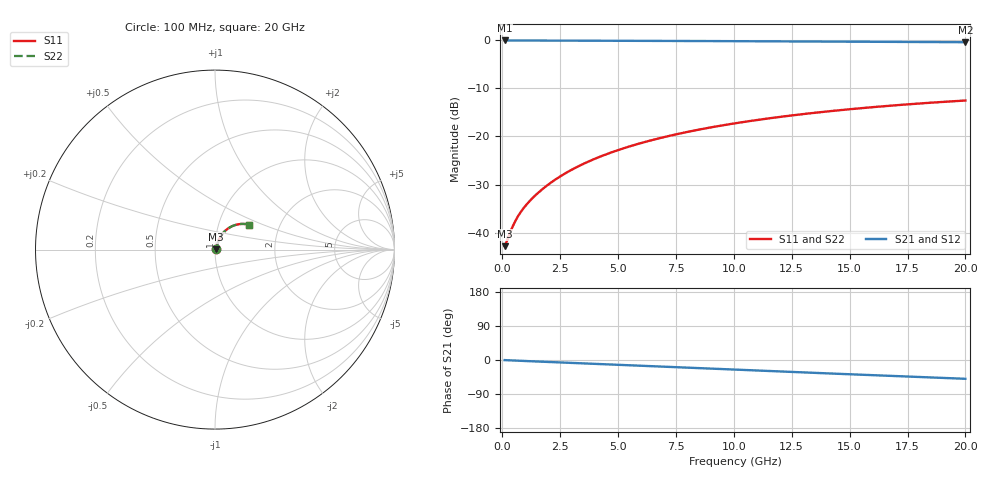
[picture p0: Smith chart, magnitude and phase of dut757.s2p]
! Touchstone file exported from HFSS 2026.1.0
!  File:  C:/ffzhzh/LocalFiles/Ansys_Project_Files/temp_train_TMRDL_757_1783155375_55132.aedt
!  Generated:  04:57:32 PM Jul  4, 2026
!  Design:  TMRDL
!  Project:  temp_train_TMRDL_757_1783155375_55132
! Variables:
!  h_bsmrdl = 2um
!  h_ox = 20um
!  h_rdl = 5um
!  h_sub = 80um
!  h_tmrdl = 2.11um
!  h_tsv = 80um
!  h_via = 3um
!  l_bsmrdl = 300um
!  l_sub = 1244.67um
!  l_tmrdl = 844.67um
!  m_sub = 200um
!  pitch = 29.34um
!  r_tsv = 6um
!  s_tmrdl = 10um
!  w_bsmrdl = 18um
!  w_sub = 500um
!  w_tmrdl = 21.23um
!  x_tsv_center1 = 855.285um
!  x_tsv_center2 = 1173.285um
!  x_tsv_center3 = 2039.185um
!  x_tsv_center4 = 2357.185um
!  x_tsv_center5 = 3223.085um
!  x_tsv_center6 = 3541.085um
# GHz S MA R 50.000000
! Terminal data exported
! Port[1] = TM_RDL1_1_T1
! Port[2] = TM_RDL1_1_T2
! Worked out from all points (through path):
!   200 points, 100 MHz to 20 GHz, reference 50 ohm
!   highest |S21| = -0.06 dB at 100 MHz (marker M1); lowest = -0.4 dB at 20 GHz (marker M2)
!   group delay of S21, straight-line fit = 6.88 ps
!   lowest |S11| = -42.8 dB at 100 MHz (marker M3), VSWR 1.01, Z = 50.7 + j0.201 ohm
!   |S11| at or under -10 dB: start of sweep to end of sweep
!   |S22| runs from -42.8 to -12.5 dB; largest |S21 - S12| = 5.1e-15
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0.1  0.007229 15.9  0.9931 -0.3  0.9931 -0.3  0.007229 15.9
! Gamma 0 0 0 0
! Port Impedance 50 0 50 0
0.2  0.008188 28.4  0.9928 -0.6  0.9928 -0.6  0.008188 28.4
0.4  0.01089 42.7  0.9921 -1.1  0.9921 -1.1  0.01089 42.7
0.5  0.01231 46.6  0.9917 -1.4  0.9917 -1.4  0.01231 46.6
0.6  0.01371 49.5  0.9913 -1.7  0.9913 -1.7  0.01371 49.5
0.7  0.01507 51.8  0.991 -1.9  0.991 -1.9  0.01507 51.8
0.9  0.01769 55.3  0.9904 -2.4  0.9904 -2.4  0.01769 55.3
1.2  0.02151 59.1  0.9898 -3.2  0.9898 -3.2  0.0215 59.1
1.7  0.02788 63.3  0.9892 -4.4  0.9892 -4.4  0.02787 63.3
2.2  0.03439 65.9  0.9886 -5.7  0.9886 -5.7  0.03439 65.9
2.8  0.04237 67.5  0.9881 -7.2  0.9881 -7.2  0.04236 67.6
3.5  0.05179 68.3  0.9873 -9.0  0.9873 -9.0  0.05178 68.3
4.2  0.06125 68.2  0.9865 -10.8  0.9865 -10.8  0.06124 68.3
5  0.07202 67.6  0.9855 -12.8  0.9855 -12.8  0.07202 67.6
5.9  0.08404 66.5  0.9841 -15.1  0.9841 -15.1  0.08404 66.5
6.8  0.0959 65.0  0.9827 -17.4  0.9827 -17.4  0.09589 65.0
8.4  0.1164 62.0  0.9797 -21.4  0.9797 -21.4  0.1164 62.0
10.1  0.1374 58.4  0.9761 -25.6  0.9761 -25.6  0.1374 58.4
11.7  0.1561 54.9  0.9724 -29.6  0.9724 -29.6  0.1561 54.9
13.4  0.1749 51.0  0.9684 -33.7  0.9684 -33.7  0.1749 51.1
16.7  0.2079 43.5  0.9602 -41.7  0.9602 -41.7  0.2079 43.6
20  0.236 36.0  0.9523 -49.6  0.9523 -49.6  0.236 36.1
